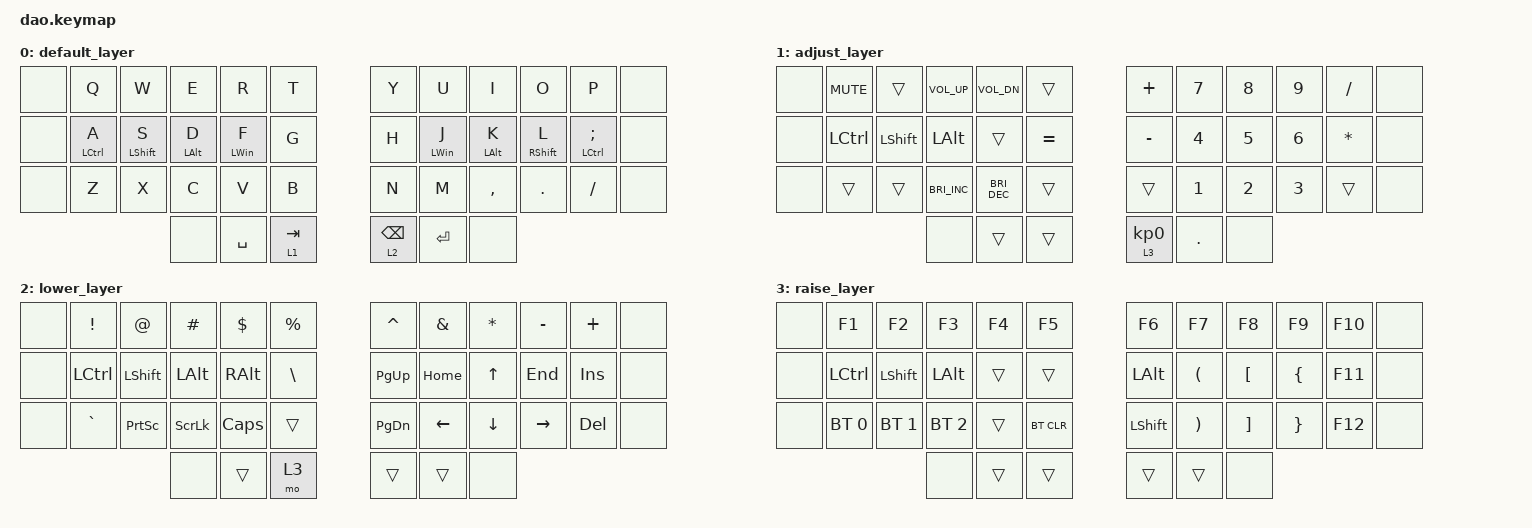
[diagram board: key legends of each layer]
/*
 * Copyright (c) 2021 Rafael Yumagulov
 *
 * SPDX-License-Identifier: MIT
 */

#include <behaviors.dtsi>
#include <dt-bindings/zmk/bt.h>
#include <dt-bindings/zmk/keys.h>

#define DEF 0
#define LWR 1
#define RSE 2
#define ADJ 3

&lt {
    tapping-term-ms = <200>;
    quick-tap-ms = <200>;
    require-prior-idle-ms = <125>;
    flavor = "tap-preferred";
};

&mt {
    tapping-term-ms = <200>;
    quick-tap-ms = <200>;
    require-prior-idle-ms = <125>;
    flavor = "tap-preferred";
};

/ {

    chosen {
        zmk,matrix_transform = &default_transform;

        // zmk,matrix_transform = &extra_keys_transform;
    };
};

/ {
    combos {
        compatible = "zmk,combos";

        Escape {
            bindings = <&kp ESC>;
            key-positions = <19 20>;
            timeout-ms = <200>;
            require-prior-idle-ms = <125>;
            layers = <0>;
        };

        comilla {
            bindings = <&kp SQT>;
            key-positions = <31 32>;
        };
    };

    keymap {
        compatible = "zmk,keymap";

        default_layer {
            bindings = <
&none  &kp Q        &kp W             &kp E           &kp R           &kp T      &kp Y            &kp U           &kp I           &kp O              &kp P           &none
&none  &mt LCTRL A  &mt LEFT_SHIFT S  &mt LEFT_ALT D  &mt LEFT_WIN F  &kp G      &kp H            &mt LEFT_WIN J  &mt LEFT_ALT K  &mt RIGHT_SHIFT L  &mt LCTRL SEMI  &none
&none  &kp Z        &kp X             &kp C           &kp V           &kp B      &kp N            &kp M           &kp COMMA       &kp DOT            &kp FSLH        &none
                                      &none           &kp SPACE       &lt 1 TAB  &lt 2 BACKSPACE  &kp ENTER       &none
            >;
        };

        adjust_layer {
            bindings = <
&none  &kp K_MUTE  &trans          &kp C_VOL_UP          &kp C_VOL_DN          &trans     &kp PLUS           &kp N7   &kp N8  &kp N9  &kp FSLH  &none
&none  &kp LCTRL   &kp LEFT_SHIFT  &kp LEFT_ALT          &trans                &kp EQUAL  &kp MINUS          &kp N4   &kp N5  &kp N6  &kp STAR  &none
&none  &trans      &trans          &kp C_BRIGHTNESS_INC  &kp C_BRIGHTNESS_DEC  &trans     &trans             &kp N1   &kp N2  &kp N3  &trans    &none
                                   &none                 &trans                &trans     &lt 3 KP_NUMBER_0  &kp DOT  &none
            >;
        };

        lower_layer {
            bindings = <
&none  &kp EXCLAMATION  &kp AT_SIGN      &kp HASH  &kp DOLLAR  &kp PERCENT  &kp CARET  &kp AMPERSAND  &kp ASTERISK  &kp MINUS  &kp PLUS    &none
&none  &kp LCTRL        &kp LSHFT        &kp LALT  &kp RALT    &kp BSLH     &kp PG_UP  &kp HOME       &kp UP        &kp END    &kp INSERT  &none
&none  &kp GRAVE        &kp PRINTSCREEN  &kp SLCK  &kp CAPS    &trans       &kp PG_DN  &kp LEFT       &kp DOWN      &kp RIGHT  &kp DEL     &none
                                         &none     &trans      &mo 3        &trans     &trans         &none
            >;
        };

        raise_layer {
            bindings = <
&none  &kp F1        &kp F2        &kp F3        &kp F4  &kp F5      &kp F6          &kp F7                 &kp F8    &kp F9           &kp F10  &none
&none  &kp LCTRL     &kp LSHFT     &kp LALT      &trans  &trans      &kp LALT        &kp LEFT_PARENTHESIS   &kp LBKT  &kp LEFT_BRACE   &kp F11  &none
&none  &bt BT_SEL 0  &bt BT_SEL 1  &bt BT_SEL 2  &trans  &bt BT_CLR  &kp LEFT_SHIFT  &kp RIGHT_PARENTHESIS  &kp RBKT  &kp RIGHT_BRACE  &kp F12  &none
                                   &none         &trans  &trans      &trans          &trans                 &none
            >;
        };
    };
};
